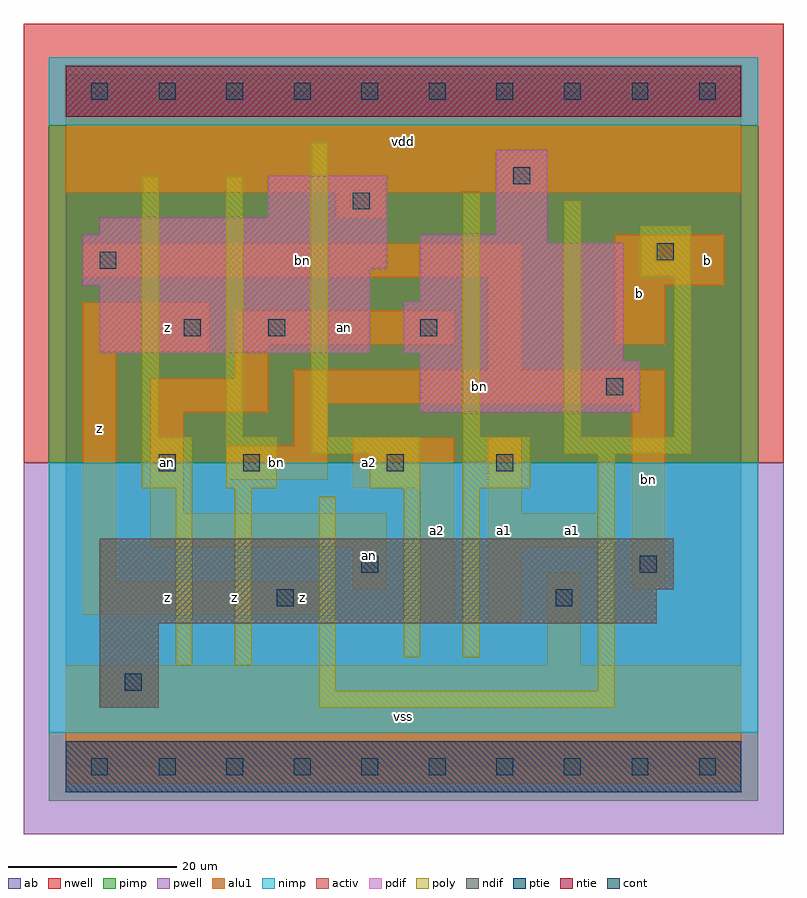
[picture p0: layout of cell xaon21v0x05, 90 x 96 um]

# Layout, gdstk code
import gdstk
lib = gdstk.Library(unit=1e-6, precision=1e-09)
def R(c, l, rs):  # rectangles x0, y0, x1, y1
    for r in rs: c.add(gdstk.rectangle(r[:2], r[2:], *l))
def A(c, l, x, y, w, h, nx, ny, dx, dy):  # array of equal rectangles
    R(c, l, [(x+i*dx, y+j*dy, x+i*dx+w, y+j*dy+h) for i in range(nx) for j in range(ny)])
ndif = (3, 0)
pdif = (4, 0)
ntie = (5, 0)
ptie = (6, 0)
cont = (25, 0)
pwell = (41, 0)
nwell = (42, 0)
activ = (43, 0)
pimp = (44, 0)
nimp = (45, 0)
poly = (46, 0)
alu1 = (49, 0)
ab = (63, 0)

xaon21v0x05 = lib.new_cell('xaon21v0x05')
R(xaon21v0x05, ndif, [(4,7,11,17), (4,17,70,21), (4,21,72,27)])
R(xaon21v0x05, pdif, [(42,42,68,48), (42,48,66,49), (4,49,36,57), (40,49,66,55), (42,55,66,62), (2,57,36,59), (2,59,38,63), (42,62,57,63), (4,63,38,65), (51,63,57,73), (24,65,38,70)])
R(xaon21v0x05, ntie, [(0,77,80,83)])
R(xaon21v0x05, ptie, [(0,-3,80,3)])
A(xaon21v0x05, cont, 3, -1, 2, 2, 10, 2, 8, 80)
R(xaon21v0x05, cont, [(7,9,9,11), (25,19,27,21), (58,19,60,21), (35,23,37,25), (68,23,70,25), (11,35,13,37), (21,35,23,37), (38,35,40,37), (51,35,53,37), (64,44,66,46), (14,51,16,53), (24,51,26,53), (42,51,44,53), (4,59,6,61), (70,60,72,62), (34,66,36,68), (53,69,55,71)])
R(xaon21v0x05, pwell, [(-5,-8,85,36)])
R(xaon21v0x05, nwell, [(-5,36,85,88)])
R(xaon21v0x05, activ, [(0,-3,80,3), (4,7,11,17), (4,17,70,21), (4,21,72,27), (42,42,68,48), (42,48,66,49), (4,49,36,57), (40,49,66,55), (42,55,66,62), (2,57,36,59), (2,59,38,63), (42,62,57,63), (4,63,38,65), (51,63,57,73), (24,65,38,70), (0,77,80,83)])
R(xaon21v0x05, pimp, [(-2,-4,82,4), (-2,36,82,76)])
R(xaon21v0x05, nimp, [(-2,4,82,36), (-2,76,82,84)])
R(xaon21v0x05, poly, [(30,7,65,9), (30,9,32,32), (63,9,65,37), (13,12,15,33), (20,12,22,33), (40,13,42,33), (47,13,49,33), (9,33,15,39), (19,33,25,39), (36,33,42,37), (47,33,55,39), (29,37,42,39), (59,37,74,39), (9,39,11,70), (19,39,21,70), (29,39,31,74), (47,39,49,68), (59,39,61,67), (72,39,74,58), (68,58,74,64)])
R(xaon21v0x05, alu1, [(0,-2,80,12), (57,12,61,23), (42,17,46,33), (50,17,54,26), (2,18,31,22), (34,21,38,26), (67,21,71,43), (2,22,6,49), (10,26,38,30), (50,26,63,30), (10,30,14,42), (50,30,54,39), (34,33,46,39), (19,34,31,38), (27,38,31,43), (10,42,24,46), (27,43,71,47), (20,46,24,50), (50,47,54,58), (2,49,17,55), (20,50,46,54), (65,50,71,57), (65,57,78,63), (2,58,54,62), (32,65,38,68), (0,68,80,82)])
R(xaon21v0x05, ab, [(0,0,80,80)])
xaon21v0x05.add(gdstk.Label('an', (12,36), layer=49, texttype=0))
xaon21v0x05.add(gdstk.Label('bn', (25,36), layer=49, texttype=0))
xaon21v0x05.add(gdstk.Label('an', (36,25), layer=49, texttype=0))
xaon21v0x05.add(gdstk.Label('an', (33,52), layer=49, texttype=0))
xaon21v0x05.add(gdstk.Label('bn', (28,60), layer=49, texttype=0))
xaon21v0x05.add(gdstk.Label('bn', (69,34), layer=49, texttype=0))
xaon21v0x05.add(gdstk.Label('bn', (49,45), layer=49, texttype=0))
xaon21v0x05.add(gdstk.Label('z', (12,20), layer=49, texttype=0))
xaon21v0x05.add(gdstk.Label('z', (4,40), layer=49, texttype=0))
xaon21v0x05.add(gdstk.Label('z', (12,52), layer=49, texttype=0))
xaon21v0x05.add(gdstk.Label('z', (28,20), layer=49, texttype=0))
xaon21v0x05.add(gdstk.Label('z', (20,20), layer=49, texttype=0))
xaon21v0x05.add(gdstk.Label('a2', (36,36), layer=49, texttype=0))
xaon21v0x05.add(gdstk.Label('vss', (40,6), layer=49, texttype=0))
xaon21v0x05.add(gdstk.Label('a2', (44,28), layer=49, texttype=0))
xaon21v0x05.add(gdstk.Label('a1', (52,28), layer=49, texttype=0))
xaon21v0x05.add(gdstk.Label('vdd', (40,74), layer=49, texttype=0))
xaon21v0x05.add(gdstk.Label('a1', (60,28), layer=49, texttype=0))
xaon21v0x05.add(gdstk.Label('b', (68,56), layer=49, texttype=0))
xaon21v0x05.add(gdstk.Label('b', (76,60), layer=49, texttype=0))

lib.write_gds('xaon21v0x05.gds')
